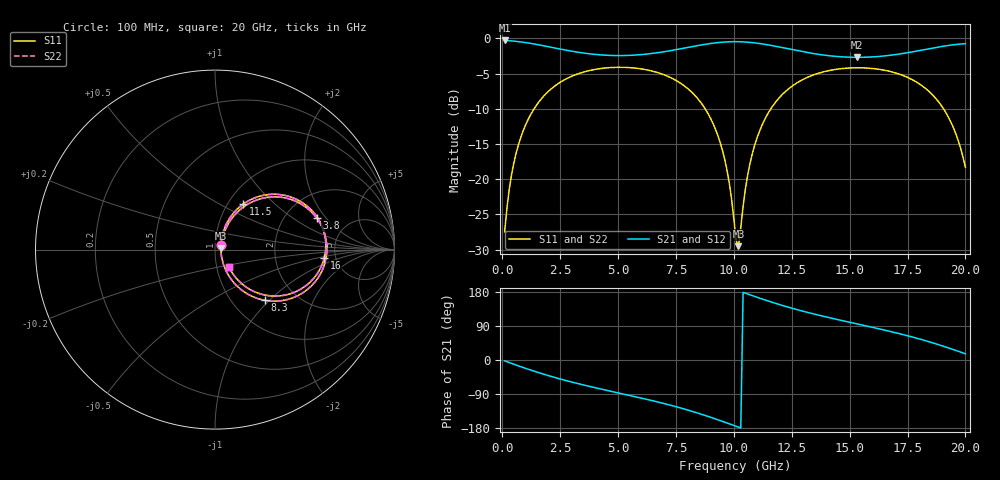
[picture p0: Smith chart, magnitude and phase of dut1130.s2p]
! Touchstone file exported from HFSS 2026.1.0
!  File:  C:/ffzhzh/LocalFiles/Ansys_Project_Files/temp_train_TSV_RDL_1130_1783307621_38820.aedt
!  Generated:  11:25:48 AM Jul  6, 2026
!  Design:  TSV_RDL
!  Project:  temp_train_TSV_RDL_1130_1783307621_38820
! Variables:
!  h_bsmrdl = 3.4um
!  h_ox = 20um
!  h_rdl = 5um
!  h_sub = 81.81um
!  h_tmrdl = 3.38um
!  h_tsv = 81.81um
!  h_via = 3um
!  l_bsmrdl = 972.49um
!  l_sub = 5700.07um
!  l_tmrdl = 571.38um
!  m_sub = 200um
!  pitch = 56.79um
!  r_tsv = 14.13um
!  s_tmrdl = 10um
!  w_bsmrdl = 17.1um
!  w_sub = 500um
!  w_tmrdl = 15.26um
!  x_tsv_center1 = 579.01um
!  x_tsv_center2 = 1568.6um
!  x_tsv_center3 = 2155.24um
!  x_tsv_center4 = 3144.83um
!  x_tsv_center5 = 3731.47um
!  x_tsv_center6 = 4721.06um
# GHz S MA R 50.000000
! Terminal data exported
! Port[1] = TM_RDL1_1_T1
! Port[2] = TM_RDL5_1_T1
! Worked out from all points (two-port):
!   200 points, 100 MHz to 20 GHz, reference 50 ohm
!   highest |S21| = -0.30 dB at 100 MHz (marker M1); lowest = -2.7 dB at 15.3 GHz (marker M2)
!   |S21| within 3 dB of the highest: start of sweep to end of sweep
!   lowest |S11| = -29.5 dB at 10.2 GHz (marker M3), VSWR 1.07, Z = 53.3 + j0.855 ohm
!   |S11| at or under -10 dB: start of sweep to 1.375 GHz; 8.759 GHz to 11.6 GHz (2.839 GHz wide, 27.9 % of centre); 19.05 GHz to end of sweep
!   |S22| runs from -29.6 to -4.1 dB; largest |S21 - S12| = 1.6e-14
!   S11 on the Smith chart (normalised r, x): 100 MHz: 1.07, +0.05; 3.8 GHz: 2.95, +1.61; 8.3 GHz: 1.40, -0.94; 11.5 GHz: 1.18, +0.65; 16 GHz: 4.04, -0.59; 20 GHz: 1.14, -0.22
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0.1  0.04233 36.0  0.9664 -2.3  0.9664 -2.3  0.04233 36.0
! Gamma 0 0 0 0
! Port Impedance 50 0 50 0
0.5  0.1307 62.7  0.9559 -11.2  0.9559 -11.2  0.1307 62.7
1.1  0.2622 57.9  0.9285 -24.0  0.9285 -24.0  0.2622 57.9
2.1  0.4362 42.3  0.8654 -43.2  0.8654 -43.2  0.4362 42.3
3.5  0.5759 21.5  0.7873 -65.8  0.7873 -65.8  0.576 21.5
3.8  0.5927 17.4  0.776 -70.1  0.776 -70.1  0.5927 17.4
5.3  0.6223 -2.2  0.7555 -90.7  0.7555 -90.7  0.6223 -2.2
6.8  0.5655 -22.4  0.7953 -112.0  0.7953 -112.0  0.5655 -22.4
8.3  0.3964 -45.5  0.8803 -137.4  0.8803 -137.4  0.3965 -45.5
9.5  0.162 -62.2  0.9395 -161.8  0.9395 -161.8  0.162 -62.3
9.8  0.0945 -60.0  0.946 -168.3  0.946 -168.3  0.09444 -60.2
10.1  0.03671 -23.8  0.9477 -174.9  0.9477 -174.9  0.03647 -24.1
10.2  0.03345 13.8  0.9472 -177.1  0.9472 -177.1  0.03316 13.9
10.7  0.13 66.1  0.9367 172.0  0.9367 172.0  0.1299 66.2
11.5  0.2978 58.2  0.8978 155.3  0.8978 155.3  0.2977 58.3
13.4  0.5472 29.3  0.7819 122.3  0.7819 122.3  0.5472 29.3
15.3  0.6183 4.5  0.7333 95.6  0.7333 95.6  0.6182 4.5
16  0.6107 -4.3  0.7388 86.0  0.7388 86.0  0.6106 -4.3
16.7  0.5847 -13.4  0.7567 76.2  0.7567 76.2  0.5846 -13.4
18.8  0.3614 -43.6  0.8657 41.3  0.8657 41.3  0.3613 -43.6
19.5  0.2283 -52.5  0.9014 27.1  0.9014 27.1  0.2282 -52.4
20  0.1214 -51.1  0.9169 16.4  0.9169 16.4  0.1215 -51.0
